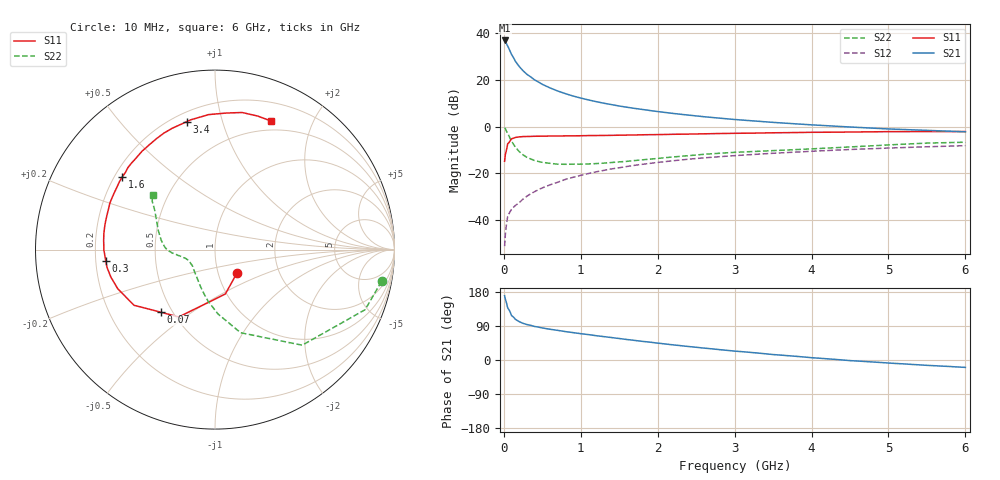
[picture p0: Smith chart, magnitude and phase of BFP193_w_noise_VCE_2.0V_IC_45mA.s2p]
! Infineon Technologies  Discrete & RF Semiconductors
! BFP193
! VCE =  2.0 V,  IC =  45 mA
! Common Emitter S-Parameters:  Jan 2017
# GHz  S  MA  R  50
!  f  S11  S21  S12  S22
! GHz  MAG  ANG  MAG  ANG  MAG  ANG  MAG  ANG
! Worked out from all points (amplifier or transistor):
!   77 points, 10 MHz to 6 GHz, reference 50 ohm
!   highest |S21| = 37.0 dB at 10 MHz (marker M1)
!   |S21| within 3 dB of that: start of sweep to 59.22 MHz
!   unconditionally stable (mu >= 1): 542.7 MHz to 2.484 GHz
!   at 130 MHz: K = 0.62, MSG = 31.9 dB, |S12| = -34.5 dB
!   at 2.2 GHz: K = 1.01, MAG = 9.6 dB, |S12| = -14.7 dB
!   at 6 GHz: K = 0.94, MSG = 3.0 dB, |S12| = -8.2 dB
!   lowest NFmin = 1.45 dB at 450 MHz
!   S11 on the Smith chart (normalised r, x): 10 MHz: 1.23, -0.34; 70 MHz: 0.43, -0.38; 300 MHz: 0.24, -0.05; 1.6 GHz: 0.23, +0.33; 3.4 GHz: 0.25, +0.77; 6 GHz: 0.40, +1.46
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0.01  0.1797 -47.6  70.66 169.7  0.0027 86.4  0.9447 -10.8
0.02  0.254 -76.9  68.4 160.3  0.0049 87.2  0.901 -21.8
0.05  0.4256 -118.2  53.77 137.4  0.0117 63.4  0.721 -47.6
0.07  0.4611 -130.8  45.81 131.3  0.0137 60.1  0.6138 -55.3
0.1  0.5477 -145.5  35.38 117.3  0.0167 56.7  0.4851 -72.8
0.15  0.5841 -158.1  25.25 107.4  0.0202 56.8  0.3592 -87.3
0.2  0.6 -165.2  19.49 101.2  0.0232 60.4  0.2901 -97.6
0.25  0.6097 -170.6  15.79 96.7  0.0278 61.8  0.2468 -105.4
0.3  0.6121 -174.3  13.24 93.6  0.032 63.7  0.2182 -112.2
0.4  0.619 -179.8  10.06 88.5  0.04 66.4  0.1861 -122.7
0.5  0.6223 175.5  8.073 84.6  0.0482 67.2  0.1706 -130.9
0.6  0.6258 171.7  6.766 81.1  0.056 67.1  0.1621 -137.5
0.7  0.6277 168.5  5.807 78.2  0.0637 67.7  0.1558 -142.6
0.8  0.63 165.0  5.094 75.0  0.0733 68.0  0.1547 -146.8
1.1  0.6403 156.2  3.733 67.0  0.0981 65.0  0.1575 -155.9
1.6  0.6567 142.0  2.601 54.1  0.1388 59.6  0.1791 -165.4
2.1  0.6767 129.0  2.006 42.3  0.177 52.9  0.2147 -172.3
3.1  0.7189 107.8  1.379 21.9  0.2432 39.7  0.2843 175.7
3.4  0.7303 102.4  1.265 16.4  0.2609 36.2  0.2991 171.4
4.1  0.7541 91.2  1.066 4.7  0.2998 27.6  0.3381 159.9
5.1  0.7783 77.5  0.876 -9.2  0.3499 16.0  0.4106 145.7
6  0.7813 66.3  0.772 -19.5  0.3889 5.9  0.4613 138.8
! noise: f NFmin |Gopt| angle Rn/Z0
0.45  1.45  0.4  -171  0.08
0.9  1.49  0.43  -165  0.08
1.9  2.13  0.59  -134  0.21
2.4  2.45  0.63  -119  0.45
